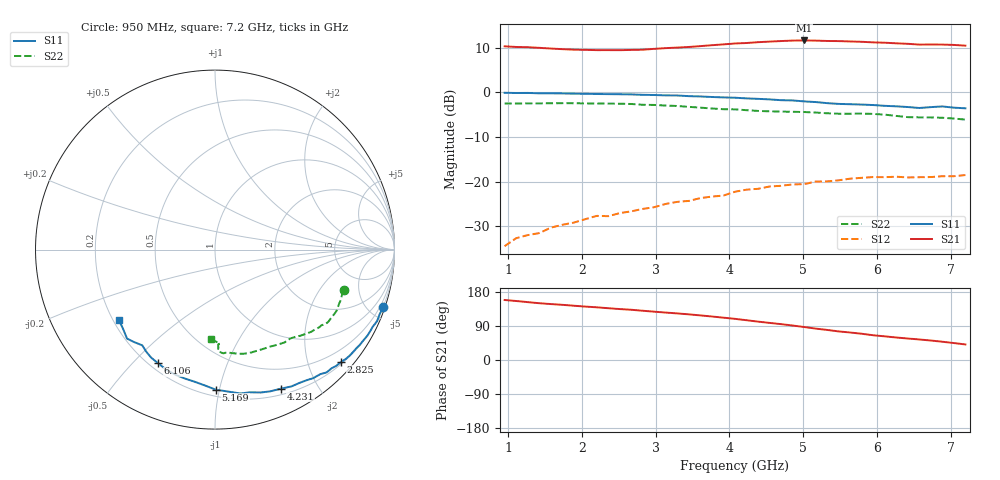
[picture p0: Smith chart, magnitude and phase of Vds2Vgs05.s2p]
!Keysight Technologies,M9375A,US54320202,A.12.55.09
!Date: Monday, July 10, 2023 14:20:27
!Correction: S11(Full 2 Port(1,2))
!S21(Full 2 Port(1,2))
!S12(Full 2 Port(1,2))
!S22(Full 2 Port(1,2))
!S2P File: Measurements: S11, S21, S12, S22:
# Hz S  RI  R 50
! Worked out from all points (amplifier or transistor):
!   41 points, 950 MHz to 7.2 GHz, reference 50 ohm
!   highest |S21| = 11.6 dB at 5.013 GHz (marker M1)
!   |S21| within 3 dB of that: start of sweep to end of sweep
!   unconditionally stable (mu >= 1): nowhere
!   at 1.887 GHz: K = 0.26, MSG = 19.4 dB, |S12| = -29.1 dB
!   at 4.075 GHz: K = 0.50, MSG = 16.6 dB, |S12| = -22.2 dB
!   at 7.2 GHz: K = 0.76, MSG = 14.5 dB, |S12| = -18.5 dB
!   S11 on the Smith chart (normalised r, x): 950 MHz: 0.16, -6.01; 2.825 GHz: 0.24, -2.60; 4.231 GHz: 0.26, -1.55; 5.169 GHz: 0.24, -0.98; 6.106 GHz: 0.23, -0.59; 7.2 GHz: 0.22, -0.31
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9.5e8  0.9378 -0.321  -3.052 1.211  0.00557 0.0182  0.7169 -0.2273
1.10625e9  0.9175 -0.3596  -2.942 1.329  0.00874 0.0217  0.7073 -0.2535
1.41875e9  0.8777 -0.4311  -2.73 1.585  0.00939 0.0249  0.6918 -0.3008
2.04375e9  0.8058 -0.532  -2.327 1.889  0.0211 0.0318  0.6589 -0.366
2.825e9  0.7016 -0.6264  -1.932 2.307  0.0325 0.0377  0.5923 -0.4222
3.1375e9  0.649 -0.6617  -1.803 2.563  0.0394 0.0407  0.5574 -0.4446
3.45e9  0.5868 -0.6939  -1.635 2.783  0.0441 0.0424  0.5052 -0.4695
3.7625e9  0.5116 -0.7274  -1.417 3.067  0.0508 0.0456  0.4477 -0.4862
4.075e9  0.4255 -0.7625  -1.127 3.347  0.0628 0.0453  0.3889 -0.5166
4.23125e9  0.3688 -0.7743  -0.9221 3.453  0.0678 0.0454  0.3443 -0.531
4.3875e9  0.308 -0.7897  -0.7139 3.58  0.0719 0.0423  0.3035 -0.5417
4.7e9  0.1966 -0.7952  -0.3044 3.747  0.0812 0.0393  0.237 -0.5628
5.0125e9  0.0717 -0.7908  0.1954 3.812  0.0875 0.0343  0.1684 -0.5797
5.16875e9  0.0041 -0.7805  0.4716 3.773  0.0947 0.0343  0.1345 -0.5803
5.48125e9  -0.1169 -0.7349  0.9447 3.634  0.1017 0.0215  0.0727 -0.5735
5.79375e9  -0.2175 -0.6986  1.305 3.45  0.1101 0.0127  0.0472 -0.5782
5.95e9  -0.27 -0.6702  1.519 3.3  0.1127 0.00722  0.0355 -0.5741
6.10625e9  -0.3167 -0.6333  1.668 3.193  0.1125 0.00329  0.0159 -0.5642
6.2625e9  -0.3552 -0.6024  1.807 3.05  0.114 -0.00129  0.0187 -0.5456
6.575e9  -0.4055 -0.5333  2.007 2.783  0.112 -0.0113  0.0213 -0.5257
6.8875e9  -0.4899 -0.4961  2.288 2.56  0.1144 -0.0156  0.0225 -0.5202
7.2e9  -0.5346 -0.3944  2.52 2.193  0.1164 -0.0244  -0.022 -0.4964
